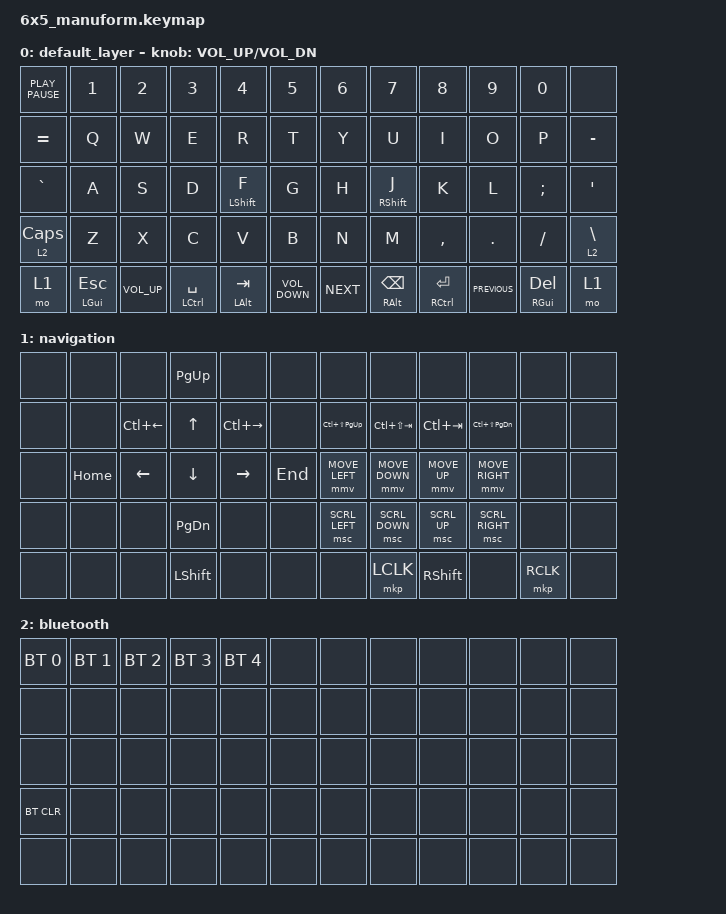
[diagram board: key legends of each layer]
/*
 * Copyright (c) 2020 The ZMK Contributors
 *
 * SPDX-License-Identifier: MIT
 */

#include <behaviors/mouse_keys.dtsi>
#include <behaviors.dtsi>
#include <dt-bindings/zmk/bt.h>
#include <dt-bindings/zmk/keys.h>
#include <dt-bindings/zmk/mouse.h>

/ {
    behaviors {
        hml: hml {
            compatible = "zmk,behavior-hold-tap";
            label = "HML";
            bindings = <&kp>, <&kp>;

            #binding-cells = <2>;
            tapping-term-ms = <200>;
            quick-tap-ms = <175>;
            require-prior-idle-ms = <125>;
            flavor = "balanced";
            hold-trigger-key-positions = <6 7 8 9 10 18 19 20 21 22 30 31 32 33 34 42 43 44 45 46 54 55 56 57 58 59 10 11 22 23 34 35 46 47>;
            hold-trigger-on-release;
        };

        hmr: hmr {
            compatible = "zmk,behavior-hold-tap";
            label = "HMR";
            bindings = <&kp>, <&kp>;

            #binding-cells = <2>;
            tapping-term-ms = <200>;
            quick-tap-ms = <175>;
            require-prior-idle-ms = <125>;
            flavor = "balanced";
            hold-trigger-on-release;
            hold-trigger-key-positions = <0 1 2 3 4 5 12 13 14 15 16 17 24 25 26 27 28 29 36 37 38 39 40 41 48 49 50 51 52 53>;
        };

        mouseorkey: mouseorkey {
            compatible = "zmk,behavior-hold-tap";
            label = "MOUSEORKEY";
            bindings = <&kp>, <&mkp>;

            #binding-cells = <2>;
            tapping-term-ms = <200>;
            quick-tap-ms = <175>;
            require-prior-idle-ms = <125>;
            flavor = "balanced";
            hold-trigger-key-positions = <6 7 8 9 10 18 19 20 21 22 30 31 32 33 34 42 43 44 45 46 54 55 56 57 58 59 10 11 22 23 34 35 46 47>;
            hold-trigger-on-release;
        };

        hll: hll {
            compatible = "zmk,behavior-hold-tap";
            label = "HLL";
            bindings = <&mo>, <&kp>;

            #binding-cells = <2>;
            tapping-term-ms = <200>;
            quick-tap-ms = <175>;
            require-prior-idle-ms = <125>;
            flavor = "balanced";
            hold-trigger-key-positions = <6 7 8 9 10 18 19 20 21 22 30 31 32 33 34 42 43 44 45 46 54 55 56 57 58 59 10 11 22 23 34 35 46 47>;
            hold-trigger-on-release;
        };

        hlr: hlr {
            compatible = "zmk,behavior-hold-tap";
            label = "HLR";
            bindings = <&mo>, <&kp>;

            #binding-cells = <2>;
            tapping-term-ms = <200>;
            quick-tap-ms = <175>;
            require-prior-idle-ms = <125>;
            flavor = "balanced";
            hold-trigger-on-release;
            hold-trigger-key-positions = <0 1 2 3 4 5 12 13 14 15 16 17 24 25 26 27 28 29 36 37 38 39 40 41 48 49 50 51 52 53>;
        };
    };

    combos {
        compatible = "zmk,combos";

        warpd {
            bindings = <&warpEngage>;
            key-positions = <51 56>;
        };

        LeftParenthesis {
            bindings = <&kp LEFT_PARENTHESIS>;
            key-positions = <28 31>;
        };

        RightParenthesis {
            bindings = <&kp RIGHT_PARENTHESIS>;
            key-positions = <27 32>;
        };

        LeftCurly {
            bindings = <&kp LEFT_BRACE>;
            key-positions = <16 19>;
        };

        RightCurly {
            bindings = <&kp RIGHT_BRACE>;
            key-positions = <15 20>;
        };

        LeftSquare {
            bindings = <&kp LEFT_BRACKET>;
            key-positions = <40 43>;
        };

        RightSquare {
            bindings = <&kp RIGHT_BRACKET>;
            key-positions = <39 44>;
        };
    };

    macros {
        warpEngage: warpEngage {
            compatible = "zmk,behavior-macro";
            #binding-cells = <0>;
            bindings = <&kp LA(LG(Z))>;
            label = "WARPENGAGE";
        };
    };

    keymap {
        compatible = "zmk,keymap";

        default_layer {
            // ------------------------------------------------------------------------------------------------------------
            // |  ESC   |  1  |  2  |  3   |  4   |  5   |                    |  6   |  7    |  8    |  9   |   0   |   `   |
            // |  TAB   |  Q  |  W  |  E   |  R   |  T   |                    |  Y   |  U    |  I    |  O   |   P   |   -   |
            // |  CTRL  |  A  |  S  |  D   |  F   |  G   |                    |  H   |  J    |  K    |  L   |   ;   |   '   |
            // | SHIFT  |  Z  |  X  |  C   |  V   |  B   |                    |  N   |  M    |  ,    |  .   |   /   | SHIFT |
            // |    2   |  2  | f   | 6    | 4    | 1    |                    | 2    | 1     | w     | s    | n     |  a    |

            bindings = <
&kp K_PLAY_PAUSE  &kp N1                &kp N2           &kp N3            &kp N4             &kp N5             &kp N6      &kp N7                    &kp N8            &kp N9          &kp N0                &none
&kp EQUAL         &kp Q                 &kp W            &kp E             &kp R              &kp T              &kp Y       &kp U                     &kp I             &kp O           &kp P                 &kp MINUS
&kp GRAVE         &kp A                 &kp S            &kp D             &hml LEFT_SHIFT F  &kp G              &kp H       &hmr RIGHT_SHIFT J        &kp K             &kp L           &kp SEMI              &kp SQT
&hll 2 CAPS       &kp Z                 &kp X            &kp C             &kp V              &kp B              &kp N       &kp M                     &kp COMMA         &kp DOT         &kp SLASH             &hlr 2 BACKSLASH
&mo 1             &hml LEFT_GUI ESCAPE  &kp C_VOLUME_UP  &hml LCTRL SPACE  &mt LEFT_ALT TAB   &kp C_VOLUME_DOWN  &kp K_NEXT  &hmr RIGHT_ALT BACKSPACE  &hmr RCTRL ENTER  &kp K_PREVIOUS  &mt RIGHT_GUI DELETE  &mo 1
            >;

            sensor-bindings = <&inc_dec_kp C_VOL_UP C_VOL_DN>;
        };

        navigation {
            bindings = <
&none  &none     &none               &kp PAGE_UP     &none                &none    &none                &none            &none            &none                  &none      &none
&none  &none     &kp LC(LEFT_ARROW)  &kp UP_ARROW    &kp LC(RIGHT_ARROW)  &none    &kp LC(LS(PAGE_UP))  &kp LC(LS(TAB))  &kp LC(TAB)      &kp LC(LS(PAGE_DOWN))  &none      &none
&none  &kp HOME  &kp LEFT_ARROW      &kp DOWN        &kp RIGHT            &kp END  &mmv MOVE_LEFT       &mmv MOVE_DOWN   &mmv MOVE_UP     &mmv MOVE_RIGHT        &none      &none
&none  &none     &none               &kp PAGE_DOWN   &none                &none    &msc SCRL_LEFT       &msc SCRL_DOWN   &msc SCRL_UP     &msc SCRL_RIGHT        &none      &none
&none  &none     &none               &kp LEFT_SHIFT  &none                &none    &none                &mkp LCLK        &kp RIGHT_SHIFT  &none                  &mkp RCLK  &none
            >;
        };

        bluetooth {
            bindings = <
&bt BT_SEL 0  &bt BT_SEL 1  &bt BT_SEL 2  &bt BT_SEL 3  &bt BT_SEL 4  &none  &none  &none  &none  &none  &none  &none
&none         &none         &none         &none         &none         &none  &none  &none  &none  &none  &none  &none
&none         &none         &none         &none         &none         &none  &none  &none  &none  &none  &none  &none
&bt BT_CLR    &none         &none         &none         &none         &none  &none  &none  &none  &none  &none  &none
&none         &none         &none         &none         &none         &none  &none  &none  &none  &none  &none  &none
            >;
        };
    };
};
